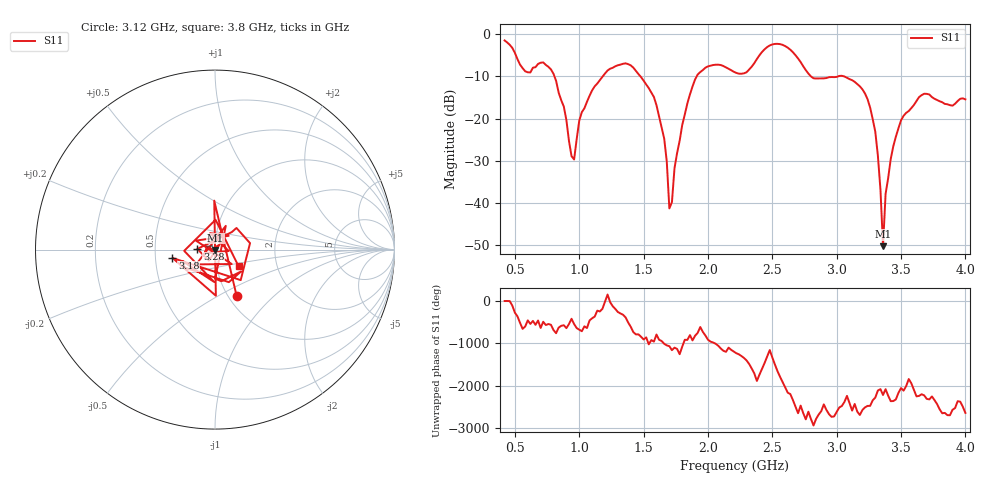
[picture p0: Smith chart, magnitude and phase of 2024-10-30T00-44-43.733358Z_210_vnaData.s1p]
!Created with skrf (http://scikit-rf.org).
# Hz S RI R 50.0
!freq ReS11 ImS11
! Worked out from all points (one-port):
!   180 points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, 420 MHz to 4 GHz, reference 50 ohm
!   lowest |S11| = -50.2 dB at 3.36 GHz (marker M1), VSWR 1.01, Z = 50.2 - j0.261 ohm
!   |S11| at or under -10 dB: 807.4 MHz to 1.182 GHz (374.7 MHz wide, 37.7 % of centre); 1.476 GHz to 1.912 GHz (436.6 MHz wide, 25.8 % of centre); 3.059 GHz to end of sweep (the widest 3 of 4)
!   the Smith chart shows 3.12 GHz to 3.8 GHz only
!   S11 on the Smith chart (normalised r, x): 3.12 GHz: 1.09, -0.62; 3.18 GHz: 0.61, -0.06; 3.28 GHz: 0.82, +0.01; 3.8 GHz: 1.28, -0.24
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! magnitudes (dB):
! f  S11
! 420 MHz  -1.5
! 580 MHz  -8.8
! 780 MHz  -8.3
! 880 MHz  -17.1
! 960 MHz  -29.7
! 1 GHz  -20.5
! 1.1 GHz  -13.3
! 1.32 GHz  -7.2
! 1.58 GHz  -14.9
! 1.66 GHz  -24.7
! 1.7 GHz  -41.2
! 1.78 GHz  -25.2
! 1.92 GHz  -9.6
! 2.22 GHz  -9.2
! 2.5 GHz  -2.4
! 2.66 GHz  -4.3
! 2.82 GHz  -10.4
! 3.12 GHz  -10.9
! 3.18 GHz  -12.3
! 3.28 GHz  -20.1
! 3.32 GHz  -28.7
! 3.36 GHz  -50.2
! 3.38 GHz  -37.8
! 3.42 GHz  -29.5
! 3.56 GHz  -18.2
! 3.68 GHz  -14.1
! 3.8 GHz  -15.9
! 4 GHz  -15.4
